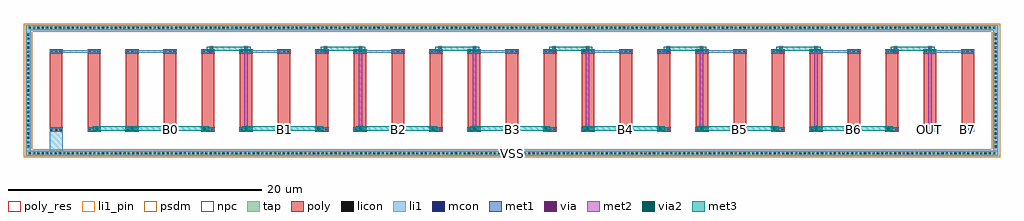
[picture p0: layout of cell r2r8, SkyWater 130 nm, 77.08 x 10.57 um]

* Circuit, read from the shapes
.subckt r2r8 B0 B1 B2 B3 B4 B5 B6 B7 OUT VSS
R1 n1 VSS sky130_fd_pr__res_generic_po w=1 l=6
R2 n1 n2 sky130_fd_pr__res_generic_po w=1 l=6
R3 n3 n2 sky130_fd_pr__res_generic_po w=1 l=6
R4 n3 B0 sky130_fd_pr__res_generic_po w=1 l=6
R5 n4 n2 sky130_fd_pr__res_generic_po w=1 l=6
R6 n5 n4 sky130_fd_pr__res_generic_po w=1 l=6
R7 n5 B1 sky130_fd_pr__res_generic_po w=1 l=6
R8 n6 n4 sky130_fd_pr__res_generic_po w=1 l=6
R9 n7 n6 sky130_fd_pr__res_generic_po w=1 l=6
R10 n7 B2 sky130_fd_pr__res_generic_po w=1 l=6
R11 n8 n6 sky130_fd_pr__res_generic_po w=1 l=6
R12 n9 n8 sky130_fd_pr__res_generic_po w=1 l=6
R13 n9 B3 sky130_fd_pr__res_generic_po w=1 l=6
R14 n10 n8 sky130_fd_pr__res_generic_po w=1 l=6
R15 n11 n10 sky130_fd_pr__res_generic_po w=1 l=6
R16 n11 B4 sky130_fd_pr__res_generic_po w=1 l=6
R17 n12 n10 sky130_fd_pr__res_generic_po w=1 l=6
R18 n13 n12 sky130_fd_pr__res_generic_po w=1 l=6
R19 n13 B5 sky130_fd_pr__res_generic_po w=1 l=6
R20 n14 n12 sky130_fd_pr__res_generic_po w=1 l=6
R21 n15 n14 sky130_fd_pr__res_generic_po w=1 l=6
R22 n15 B6 sky130_fd_pr__res_generic_po w=1 l=6
R23 OUT n14 sky130_fd_pr__res_generic_po w=1 l=6
R24 n16 OUT sky130_fd_pr__res_generic_po w=1 l=6
R25 n16 B7 sky130_fd_pr__res_generic_po w=1 l=6
.ends

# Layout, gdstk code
import gdstk
lib = gdstk.Library(unit=1e-6, precision=1e-09)
def R(c, l, rs):  # rectangles x0, y0, x1, y1
    for r in rs: c.add(gdstk.rectangle(r[:2], r[2:], *l))
def A(c, l, x, y, w, h, nx, ny, dx, dy):  # array of equal rectangles
    R(c, l, [(x+i*dx, y+j*dy, x+i*dx+w, y+j*dy+h) for i in range(nx) for j in range(ny)])
tap = (65, 44)
poly_res = (66, 13)
poly = (66, 20)
licon = (66, 44)
li1_pin = (67, 16)
li1 = (67, 20)
mcon = (67, 44)
met1 = (68, 20)
via = (68, 44)
met2 = (69, 20)
via2 = (69, 44)
met3 = (70, 20)
psdm = (94, 20)
npc = (95, 20)

r2r8 = lib.new_cell('r2r8')
R(r2r8, tap, [(-1.915,-2.16,74.915,-1.75), (-1.915,-1.75,-1.505,7.75), (74.505,-1.75,74.915,7.75), (-1.915,7.75,74.915,8.16)])
A(r2r8, poly_res, 0, 0, 1, 6, 25, 1, 3, 0)
A(r2r8, poly, 0, -0.25, 1, 6.5, 25, 1, 3, 0)
A(r2r8, licon, -1.665, -2.04, 0.17, 0.17, 225, 2, 0.34, 9.91)
A(r2r8, licon, -1.795, -1.505, 0.17, 0.17, 1, 27, 0, 0.34)
A(r2r8, licon, 74.625, -1.505, 0.17, 0.17, 1, 27, 0, 0.34)
A(r2r8, licon, 0.075, -0.17, 0.17, 0.17, 3, 2, 0.34, 6.17)
A(r2r8, licon, 3.075, -0.17, 0.17, 0.17, 3, 2, 0.34, 6.17)
A(r2r8, licon, 6.075, -0.17, 0.17, 0.17, 3, 2, 0.34, 6.17)
A(r2r8, licon, 9.075, -0.17, 0.17, 0.17, 3, 2, 0.34, 6.17)
A(r2r8, licon, 12.075, -0.17, 0.17, 0.17, 3, 2, 0.34, 6.17)
A(r2r8, licon, 15.075, -0.17, 0.17, 0.17, 3, 2, 0.34, 6.17)
A(r2r8, licon, 18.075, -0.17, 0.17, 0.17, 3, 2, 0.34, 6.17)
A(r2r8, licon, 21.075, -0.17, 0.17, 0.17, 3, 2, 0.34, 6.17)
A(r2r8, licon, 24.075, -0.17, 0.17, 0.17, 3, 2, 0.34, 6.17)
A(r2r8, licon, 27.075, -0.17, 0.17, 0.17, 3, 2, 0.34, 6.17)
A(r2r8, licon, 30.075, -0.17, 0.17, 0.17, 3, 2, 0.34, 6.17)
A(r2r8, licon, 33.075, -0.17, 0.17, 0.17, 3, 2, 0.34, 6.17)
A(r2r8, licon, 36.075, -0.17, 0.17, 0.17, 3, 2, 0.34, 6.17)
A(r2r8, licon, 39.075, -0.17, 0.17, 0.17, 3, 2, 0.34, 6.17)
A(r2r8, licon, 42.075, -0.17, 0.17, 0.17, 3, 2, 0.34, 6.17)
A(r2r8, licon, 45.075, -0.17, 0.17, 0.17, 3, 2, 0.34, 6.17)
A(r2r8, licon, 48.075, -0.17, 0.17, 0.17, 3, 2, 0.34, 6.17)
A(r2r8, licon, 51.075, -0.17, 0.17, 0.17, 3, 2, 0.34, 6.17)
A(r2r8, licon, 54.075, -0.17, 0.17, 0.17, 3, 2, 0.34, 6.17)
A(r2r8, licon, 57.075, -0.17, 0.17, 0.17, 3, 2, 0.34, 6.17)
A(r2r8, licon, 60.075, -0.17, 0.17, 0.17, 3, 2, 0.34, 6.17)
A(r2r8, licon, 63.075, -0.17, 0.17, 0.17, 3, 2, 0.34, 6.17)
A(r2r8, licon, 66.075, -0.17, 0.17, 0.17, 3, 2, 0.34, 6.17)
A(r2r8, licon, 69.075, -0.17, 0.17, 0.17, 3, 2, 0.34, 6.17)
A(r2r8, licon, 72.075, -0.17, 0.17, 0.17, 3, 2, 0.34, 6.17)
A(r2r8, li1_pin, 8.995, -0.17, 1.01, 0.17, 7, 1, 9, 0)
R(r2r8, li1_pin, [(-1.915,-2.16,74.915,-1.75), (68.995,-0.17,70.005,0), (71.995,-0.17,73.005,0)])
A(r2r8, li1, -0.005, -0.17, 1.01, 0.17, 25, 2, 3, 6.17)
A(r2r8, li1, 5.995, 6, 4.01, 0.17, 8, 1, 9, 0)
A(r2r8, li1, 12.595, 6, 0.33, 0.17, 5, 1, 9.02, 0)
R(r2r8, li1, [(-1.915,-2.16,74.915,-1.75), (-0.005,-2.16,1.005,-0.17), (-1.915,-1.75,-1.505,7.75), (74.505,-1.75,74.915,7.75), (3.575,-0.17,3.905,0), (6.325,-0.17,6.655,0), (12.045,-0.17,12.375,0), (15.345,-0.17,15.675,0), (21.065,-0.17,21.395,0), (24.365,-0.17,24.695,0), (30.085,-0.17,30.415,0), (33.385,-0.17,33.715,0), (38.995,-0.17,39.325,0), (42.295,-0.17,42.625,0), (48.015,-0.17,48.345,0), (51.315,-0.17,51.645,0), (57.035,-0.17,57.365,0), (60.335,-0.17,60.665,0), (66.055,-0.17,66.385,0), (69.355,-0.17,69.685,0), (-0.005,6,4.005,6.17), (57.585,6,57.915,6.17), (66.605,6,66.935,6.17), (-1.915,7.75,74.915,8.16)])
A(r2r8, mcon, 12.675, 6, 0.17, 0.17, 5, 1, 9.02, 0)
R(r2r8, mcon, [(3.655,-0.17,3.825,0), (6.405,-0.17,6.575,0), (12.125,-0.17,12.295,0), (15.425,-0.17,15.595,0), (21.145,-0.17,21.315,0), (24.445,-0.17,24.615,0), (30.165,-0.17,30.335,0), (33.465,-0.17,33.635,0), (39.075,-0.17,39.245,0), (42.375,-0.17,42.545,0), (48.095,-0.17,48.265,0), (51.395,-0.17,51.565,0), (57.115,-0.17,57.285,0), (60.415,-0.17,60.585,0), (66.135,-0.17,66.305,0), (69.435,-0.17,69.605,0), (57.665,6,57.835,6.17), (66.685,6,66.855,6.17)])
A(r2r8, met1, 12.6, 5.955, 0.32, 0.26, 5, 1, 9.02, 0)
R(r2r8, met1, [(3.58,-0.215,3.9,0.045), (6.33,-0.215,6.65,0.045), (12.05,-0.215,12.37,0.045), (15.35,-0.215,15.67,0.045), (21.07,-0.215,21.39,0.045), (24.37,-0.215,24.69,0.045), (30.09,-0.215,30.41,0.045), (33.39,-0.215,33.71,0.045), (39,-0.215,39.32,0.045), (42.3,-0.215,42.62,0.045), (48.02,-0.215,48.34,0.045), (51.32,-0.215,51.64,0.045), (57.04,-0.215,57.36,0.045), (60.34,-0.215,60.66,0.045), (66.06,-0.215,66.38,0.045), (69.36,-0.215,69.68,0.045), (57.59,5.955,57.91,6.215), (66.61,5.955,66.93,6.215)])
A(r2r8, via, 12.685, 6.01, 0.15, 0.15, 5, 1, 9.02, 0)
R(r2r8, via, [(3.665,-0.16,3.815,-0.01), (6.415,-0.16,6.565,-0.01), (12.135,-0.16,12.285,-0.01), (15.435,-0.16,15.585,-0.01), (21.155,-0.16,21.305,-0.01), (24.455,-0.16,24.605,-0.01), (30.175,-0.16,30.325,-0.01), (33.475,-0.16,33.625,-0.01), (39.085,-0.16,39.235,-0.01), (42.385,-0.16,42.535,-0.01), (48.105,-0.16,48.255,-0.01), (51.405,-0.16,51.555,-0.01), (57.125,-0.16,57.275,-0.01), (60.425,-0.16,60.575,-0.01), (66.145,-0.16,66.295,-0.01), (69.445,-0.16,69.595,-0.01), (57.675,6.01,57.825,6.16), (66.695,6.01,66.845,6.16)])
A(r2r8, met2, 15.37, 0, 0.28, 6.3, 3, 1, 9.02, 0)
A(r2r8, met2, 42.32, 0, 0.28, 6.3, 4, 1, 9.02, 0)
A(r2r8, met2, 12.63, 5.925, 0.26, 0.32, 5, 1, 9.02, 0)
A(r2r8, met2, 12.62, 6.085, 0.28, 0.215, 5, 1, 9.02, 0)
R(r2r8, met2, [(3.61,-0.245,3.87,0.075), (6.36,-0.245,6.62,0.075), (12.08,-0.245,12.34,0.075), (15.38,-0.245,15.64,0.075), (21.1,-0.245,21.36,0.075), (24.4,-0.245,24.66,0.075), (30.12,-0.245,30.38,0.075), (33.42,-0.245,33.68,0.075), (39.03,-0.245,39.29,0.075), (42.33,-0.245,42.59,0.075), (48.05,-0.245,48.31,0.075), (51.35,-0.245,51.61,0.075), (57.07,-0.245,57.33,0.075), (60.37,-0.245,60.63,0.075), (66.09,-0.245,66.35,0.075), (69.39,-0.245,69.65,0.075), (3.6,-0.185,3.88,0.185), (6.35,-0.185,6.63,0.185), (12.07,-0.185,12.35,0.185), (15.37,-0.185,15.65,0.185), (15.37,-0.185,15.65,0.185), (21.09,-0.185,21.37,0.185), (24.39,-0.185,24.67,0.185), (24.39,-0.185,24.67,0.185), (30.11,-0.185,30.39,0.185), (33.41,-0.185,33.69,0.185), (33.41,-0.185,33.69,0.185), (39.02,-0.185,39.3,0.185), (42.32,-0.185,42.6,0.185), (42.32,-0.185,42.6,0.185), (48.04,-0.185,48.32,0.185), (51.34,-0.185,51.62,0.185), (51.34,-0.185,51.62,0.185), (57.06,-0.185,57.34,0.185), (60.36,-0.185,60.64,0.185), (60.36,-0.185,60.64,0.185), (66.08,-0.185,66.36,0.185), (69.38,-0.185,69.66,0.185), (69.38,-0.185,69.66,0.185), (3.6,-0.085,3.88,0), (6.35,-0.085,6.63,0), (12.07,-0.085,12.35,0), (15.37,-0.085,15.65,0), (21.09,-0.085,21.37,0), (24.39,-0.085,24.67,0), (30.11,-0.085,30.39,0), (33.41,-0.085,33.69,0), (39.02,-0.085,39.3,0), (42.32,-0.085,42.6,0), (48.04,-0.085,48.32,0), (51.34,-0.085,51.62,0), (57.06,-0.085,57.34,0), (60.36,-0.085,60.64,0), (66.08,-0.085,66.36,0), (69.38,-0.085,69.66,0), (57.62,5.925,57.88,6.245), (66.64,5.925,66.9,6.245), (57.61,6.085,57.89,6.3), (66.63,6.085,66.91,6.3), (12.62,6.115,12.9,6.485), (15.37,6.115,15.65,6.485), (21.64,6.115,21.92,6.485), (24.39,6.115,24.67,6.485), (30.66,6.115,30.94,6.485), (33.41,6.115,33.69,6.485), (39.68,6.115,39.96,6.485), (42.32,6.115,42.6,6.485), (48.7,6.115,48.98,6.485), (51.34,6.115,51.62,6.485), (57.61,6.115,57.89,6.485), (60.36,6.115,60.64,6.485), (66.63,6.115,66.91,6.485), (69.38,6.115,69.66,6.485)])
R(r2r8, via2, [(3.64,-0.1,3.84,0.1), (6.39,-0.1,6.59,0.1), (12.11,-0.1,12.31,0.1), (15.41,-0.1,15.61,0.1), (15.41,-0.1,15.61,0.1), (21.13,-0.1,21.33,0.1), (24.43,-0.1,24.63,0.1), (24.43,-0.1,24.63,0.1), (30.15,-0.1,30.35,0.1), (33.45,-0.1,33.65,0.1), (33.45,-0.1,33.65,0.1), (39.06,-0.1,39.26,0.1), (42.36,-0.1,42.56,0.1), (42.36,-0.1,42.56,0.1), (48.08,-0.1,48.28,0.1), (51.38,-0.1,51.58,0.1), (51.38,-0.1,51.58,0.1), (57.1,-0.1,57.3,0.1), (60.4,-0.1,60.6,0.1), (60.4,-0.1,60.6,0.1), (66.12,-0.1,66.32,0.1), (69.42,-0.1,69.62,0.1), (69.42,-0.1,69.62,0.1), (12.66,6.2,12.86,6.4), (15.41,6.2,15.61,6.4), (21.68,6.2,21.88,6.4), (24.43,6.2,24.63,6.4), (30.7,6.2,30.9,6.4), (33.45,6.2,33.65,6.4), (39.72,6.2,39.92,6.4), (42.36,6.2,42.56,6.4), (48.74,6.2,48.94,6.4), (51.38,6.2,51.58,6.4), (57.65,6.2,57.85,6.4), (60.4,6.2,60.6,6.4), (66.67,6.2,66.87,6.4), (69.42,6.2,69.62,6.4)])
A(r2r8, met3, 42.46, -0.165, 5.72, 0.33, 3, 1, 9.02, 0)
A(r2r8, met3, 12.76, 6.135, 2.75, 0.33, 3, 1, 9.02, 0)
R(r2r8, met3, [(3.375,-0.165,4.105,0.165), (3.74,-0.165,12.21,0.165), (6.125,-0.165,6.855,0.165), (11.845,-0.165,12.575,0.165), (15.145,-0.165,15.875,0.165), (15.145,-0.165,15.875,0.165), (15.51,-0.165,21.23,0.165), (20.865,-0.165,21.595,0.165), (24.165,-0.165,24.895,0.165), (24.165,-0.165,24.895,0.165), (24.53,-0.165,30.25,0.165), (29.885,-0.165,30.615,0.165), (33.185,-0.165,33.915,0.165), (33.185,-0.165,33.915,0.165), (33.55,-0.165,39.16,0.165), (38.795,-0.165,39.525,0.165), (42.095,-0.165,42.825,0.165), (42.095,-0.165,42.825,0.165), (47.815,-0.165,48.545,0.165), (51.115,-0.165,51.845,0.165), (51.115,-0.165,51.845,0.165), (56.835,-0.165,57.565,0.165), (60.135,-0.165,60.865,0.165), (60.135,-0.165,60.865,0.165), (65.855,-0.165,66.585,0.165), (69.155,-0.165,69.885,0.165), (69.155,-0.165,69.885,0.165), (12.395,6.135,13.125,6.465), (15.145,6.135,15.875,6.465), (21.415,6.135,22.145,6.465), (24.165,6.135,24.895,6.465), (30.435,6.135,31.165,6.465), (33.185,6.135,33.915,6.465), (39.455,6.135,40.185,6.465), (39.82,6.135,42.46,6.465), (42.095,6.135,42.825,6.465), (48.475,6.135,49.205,6.465), (48.84,6.135,51.48,6.465), (51.115,6.135,51.845,6.465), (57.385,6.135,58.115,6.465), (57.75,6.135,60.5,6.465), (60.135,6.135,60.865,6.465), (66.405,6.135,67.135,6.465), (66.77,6.135,69.52,6.465), (69.155,6.135,69.885,6.465)])
R(r2r8, psdm, [(-2.04,-2.285,75.04,-1.625), (-2.04,-1.875,-1.38,7.875), (74.38,-1.875,75.04,7.875), (-2.04,7.625,75.04,8.285)])
A(r2r8, npc, -0.025, -0.27, 1.05, 0.37, 25, 2, 3, 6.17)
r2r8.add(gdstk.Label('B0', (9.5,-0.085), layer=67, texttype=16))
r2r8.add(gdstk.Label('B1', (18.5,-0.085), layer=67, texttype=16))
r2r8.add(gdstk.Label('B2', (27.5,-0.085), layer=67, texttype=16))
r2r8.add(gdstk.Label('B3', (36.5,-0.085), layer=67, texttype=16))
r2r8.add(gdstk.Label('B4', (45.5,-0.085), layer=67, texttype=16))
r2r8.add(gdstk.Label('B5', (54.5,-0.085), layer=67, texttype=16))
r2r8.add(gdstk.Label('B6', (63.5,-0.085), layer=67, texttype=16))
r2r8.add(gdstk.Label('B7', (72.5,-0.085), layer=67, texttype=16))
r2r8.add(gdstk.Label('OUT', (69.5,-0.085), layer=67, texttype=16))
r2r8.add(gdstk.Label('VSS', (36.5,-1.955), layer=67, texttype=16))
r2r8.add(gdstk.Label('B0', (9.5,-0.085), layer=67, texttype=5))
r2r8.add(gdstk.Label('B1', (18.5,-0.085), layer=67, texttype=5))
r2r8.add(gdstk.Label('B2', (27.5,-0.085), layer=67, texttype=5))
r2r8.add(gdstk.Label('B3', (36.5,-0.085), layer=67, texttype=5))
r2r8.add(gdstk.Label('B4', (45.5,-0.085), layer=67, texttype=5))
r2r8.add(gdstk.Label('B5', (54.5,-0.085), layer=67, texttype=5))
r2r8.add(gdstk.Label('B6', (63.5,-0.085), layer=67, texttype=5))
r2r8.add(gdstk.Label('B7', (72.5,-0.085), layer=67, texttype=5))
r2r8.add(gdstk.Label('OUT', (69.5,-0.085), layer=67, texttype=5))
r2r8.add(gdstk.Label('VSS', (36.5,-1.955), layer=67, texttype=5))

lib.write_gds('r2r8.gds')
